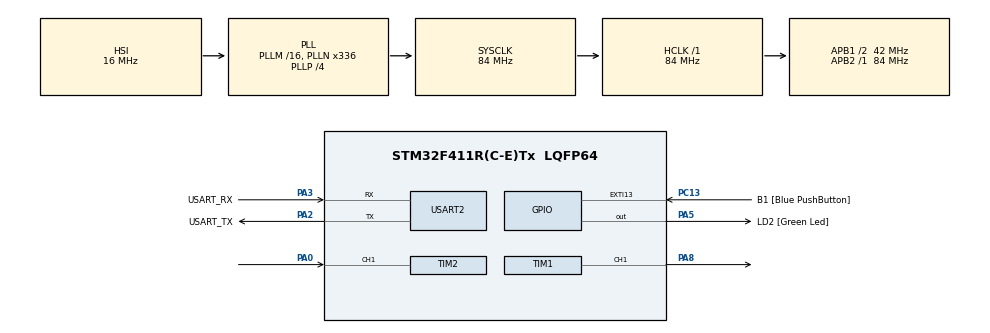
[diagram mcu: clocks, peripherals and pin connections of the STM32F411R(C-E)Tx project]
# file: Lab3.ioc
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Dma.Request0=TIM2_CH1
Dma.TIM2_CH1.0.Direction=DMA_PERIPH_TO_MEMORY
Dma.TIM2_CH1.0.FIFOMode=DMA_FIFOMODE_DISABLE
Dma.TIM2_CH1.0.Instance=DMA1_Stream5
Dma.TIM2_CH1.0.MemDataAlignment=DMA_MDATAALIGN_WORD
Dma.TIM2_CH1.0.MemInc=DMA_MINC_ENABLE
Dma.TIM2_CH1.0.Mode=DMA_CIRCULAR
Dma.TIM2_CH1.0.PeriphDataAlignment=DMA_PDATAALIGN_WORD
Dma.TIM2_CH1.0.PeriphInc=DMA_PINC_DISABLE
Dma.TIM2_CH1.0.Priority=DMA_PRIORITY_LOW
Mcu.Family=STM32F4
Mcu.Name=STM32F411R(C-E)Tx
Mcu.Package=LQFP64
NVIC.DMA1_Stream5_IRQn=true\:0\:0\:false\:false\:true\:false\:true\:true
NVIC.PriorityGroup=NVIC_PRIORITYGROUP_0
PA0-WKUP.Signal=S_TIM2_CH1_ETR
PA13.GPIO_Label=TMS
PA13.Mode=Serial_Wire
PA13.Signal=SYS_JTMS-SWDIO
PA14.GPIO_Label=TCK
PA14.Mode=Serial_Wire
PA14.Signal=SYS_JTCK-SWCLK
PA2.GPIO_Label=USART_TX
PA2.Mode=Asynchronous
PA2.Signal=USART2_TX
PA3.GPIO_Label=USART_RX
PA3.Mode=Asynchronous
PA3.Signal=USART2_RX
PA5.GPIO_Label=LD2 [Green Led]
PA5.Signal=GPIO_Output
PA8.Signal=S_TIM1_CH1
PB3.GPIO_Label=SWO
PB3.Signal=SYS_JTDO-SWO
PC13-ANTI_TAMP.GPIO_Label=B1 [Blue PushButton]
PC13-ANTI_TAMP.GPIO_ModeDefaultEXTI=GPIO_MODE_IT_FALLING
PC13-ANTI_TAMP.Signal=GPXTI13
PC14-OSC32_IN.Mode=LSE-External-Oscillator
PC14-OSC32_IN.Signal=RCC_OSC32_IN
PC15-OSC32_OUT.Mode=LSE-External-Oscillator
PC15-OSC32_OUT.Signal=RCC_OSC32_OUT
PH0\ -\ OSC_IN.Mode=HSE-External-Clock-Source
PH0\ -\ OSC_IN.Signal=RCC_OSC_IN
PH1\ -\ OSC_OUT.Mode=HSE-External-Clock-Source
PH1\ -\ OSC_OUT.Signal=RCC_OSC_OUT
ProjectManager.HeapSize=0x200
ProjectManager.StackSize=0x400
ProjectManager.TargetToolchain=STM32CubeIDE
RCC.48MHZClocksFreq_Value=84000000
RCC.AHBFreq_Value=84000000
RCC.APB1CLKDivider=RCC_HCLK_DIV2
RCC.APB1Freq_Value=42000000
RCC.APB1TimFreq_Value=84000000
RCC.APB2Freq_Value=84000000
RCC.APB2TimFreq_Value=84000000
RCC.CortexFreq_Value=84000000
RCC.FLatency-AdvancedSettings=FLASH_LATENCY_2
RCC.HCLKFreq_Value=84000000
RCC.HSE_VALUE=8000000
RCC.HSI_VALUE=16000000
RCC.PLLN=336
RCC.PLLP=RCC_PLLP_DIV4
RCC.SYSCLKFreq_VALUE=84000000
RCC.SYSCLKSource=RCC_SYSCLKSOURCE_PLLCLK
RCC.VCOOutputFreq_Value=336000000
SH.S_TIM1_CH1.0=TIM1_CH1,PWM Generation1 CH1
SH.S_TIM2_CH1_ETR.0=TIM2_CH1,Input_Capture1_from_TI1
TIM1.Channel-PWM\ Generation1\ CH1=TIM_CHANNEL_1
TIM1.Period=99
TIM1.Prescaler=83
TIM1.Pulse-PWM\ Generation1\ CH1=100
TIM2.Channel-Input_Capture1_from_TI1=TIM_CHANNEL_1
TIM2.Period=4294967295
TIM2.Prescaler=83
USART2.VirtualMode=VM_ASYNC
VP_TIM1_VS_ClockSourceINT.Mode=Internal
VP_TIM2_VS_ClockSourceINT.Mode=Internal
board=NUCLEO-F411RE

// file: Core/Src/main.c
/* USER CODE BEGIN Header */
/**
  ******************************************************************************
  * @file           : main.c
  * @brief          : Main program body
  ******************************************************************************
  * @attention
  *
  * Copyright (c) 2023 STMicroelectronics.
  * All rights reserved.
  *
  * This software is licensed under terms that can be found in the LICENSE file
  * in the root directory of this software component.
  * If no LICENSE file comes with this software, it is provided AS-IS.
  *
  ******************************************************************************
  */
/* USER CODE END Header */
#include "main.h"

/* USER CODE BEGIN Includes */
//vasin yurenyongvasin
#define IC_BUFFER_SIZE 20

/* USER CODE END Includes */

TIM_HandleTypeDef htim1;
TIM_HandleTypeDef htim2;
DMA_HandleTypeDef hdma_tim2_ch1;

UART_HandleTypeDef huart2;

/* USER CODE BEGIN PV */
uint8_t MotorControlEnable = 0;

uint32_t InputCaptureBuffer[IC_BUFFER_SIZE];
float averageRisingedgePeriod;
float MotorSetDuty;
float MotorReadRPM;
float MotorSetRPM;
float ap;
float readrpm;

/* USER CODE END PV */

void SystemClock_Config(void);
static void MX_GPIO_Init(void);
static void MX_DMA_Init(void);
static void MX_USART2_UART_Init(void);
static void MX_TIM2_Init(void);
static void MX_TIM1_Init(void);
/* USER CODE BEGIN PFP */

/////////////////////////////////////////////////////////////////  Ex.1-2 start
float IC_Calc_Period();
/////////////////////////////////////////////////////////////////  Ex.1-2 end

/* USER CODE END PFP */

int main(void)
{

  /* MCU Configuration--------------------------------------------------------*/

  /* Reset of all peripherals, Initializes the Flash interface and the Systick. */
  HAL_Init();

  /* Configure the system clock */
  SystemClock_Config();

  /* Initialize all configured peripherals */
  MX_GPIO_Init();
  MX_DMA_Init();
  MX_USART2_UART_Init();
  MX_TIM2_Init();
  MX_TIM1_Init();
  /* USER CODE BEGIN 2 */

  // read length 1 rising edge encoder
  HAL_TIM_Base_Start(&htim2);
  HAL_TIM_IC_Start_DMA(&htim2, TIM_CHANNEL_1, InputCaptureBuffer, IC_BUFFER_SIZE);

  //
  HAL_TIM_Base_Start(&htim1);
  HAL_TIM_PWM_Start(&htim1, TIM_CHANNEL_1);

  /* USER CODE END 2 */

  /* Infinite loop */
  while (1)
  {

    /* USER CODE BEGIN 3 */
	  static uint32_t timestamp = 0;
	  if (HAL_GetTick() >= timestamp)
	  {
		  timestamp = HAL_GetTick() + 75;
		  averageRisingedgePeriod = IC_Calc_Period();//pulling read rpm in ic
		  MotorReadRPM = (60 * 1000000) / (64 * 12 * averageRisingedgePeriod);//change from ic to rpm
//motor control
	  if (MotorControlEnable == 1){
		  if (MotorSetRPM == 0)
		  {averageRisingedgePeriod = 0;
		   MotorReadRPM = 0 ;
		   MotorSetDuty = 0 ;
		  }
		  else if (MotorReadRPM > MotorSetRPM )
		  {if (MotorSetDuty < 0){
				  MotorSetDuty = 0;}
			  else if (MotorSetDuty > 0){
				  MotorSetDuty -= 1;}
		  }
		  else if (MotorReadRPM < MotorSetRPM ){
			  if (MotorSetDuty > 100){
				  MotorSetDuty = 100;}
			  else if (MotorSetDuty < 100){
				  MotorSetDuty += 1;}
		  }
	  }
	  else if (MotorControlEnable == 0){
		  if (MotorSetDuty > 100){
			  MotorSetDuty = 100;}
		  else if (MotorSetDuty <= 0){
			  MotorSetDuty = 0;
			  MotorReadRPM = 0;
			  averageRisingedgePeriod = 0;}
	  }
	  __HAL_TIM_SET_COMPARE(&htim1,TIM_CHANNEL_1,MotorSetDuty);

  }

}
  /* USER CODE END 3 */
}

void SystemClock_Config(void)
{
  RCC_OscInitTypeDef RCC_OscInitStruct = {0};
  RCC_ClkInitTypeDef RCC_ClkInitStruct = {0};

  /** Configure the main internal regulator output voltage
  */
  __HAL_RCC_PWR_CLK_ENABLE();
  __HAL_PWR_VOLTAGESCALING_CONFIG(PWR_REGULATOR_VOLTAGE_SCALE1);

  /** Initializes the RCC Oscillators according to the specified parameters
  * in the RCC_OscInitTypeDef structure.
  */
  RCC_OscInitStruct.OscillatorType = RCC_OSCILLATORTYPE_HSI;
  RCC_OscInitStruct.HSIState = RCC_HSI_ON;
  RCC_OscInitStruct.HSICalibrationValue = RCC_HSICALIBRATION_DEFAULT;
  RCC_OscInitStruct.PLL.PLLState = RCC_PLL_ON;
  RCC_OscInitStruct.PLL.PLLSource = RCC_PLLSOURCE_HSI;
  RCC_OscInitStruct.PLL.PLLM = 16;
  RCC_OscInitStruct.PLL.PLLN = 336;
  RCC_OscInitStruct.PLL.PLLP = RCC_PLLP_DIV4;
  RCC_OscInitStruct.PLL.PLLQ = 4;
  if (HAL_RCC_OscConfig(&RCC_OscInitStruct) != HAL_OK)
  {
    Error_Handler();
  }

  /** Initializes the CPU, AHB and APB buses clocks
  */
  RCC_ClkInitStruct.ClockType = RCC_CLOCKTYPE_HCLK|RCC_CLOCKTYPE_SYSCLK
                              |RCC_CLOCKTYPE_PCLK1|RCC_CLOCKTYPE_PCLK2;
  RCC_ClkInitStruct.SYSCLKSource = RCC_SYSCLKSOURCE_PLLCLK;
  RCC_ClkInitStruct.AHBCLKDivider = RCC_SYSCLK_DIV1;
  RCC_ClkInitStruct.APB1CLKDivider = RCC_HCLK_DIV2;
  RCC_ClkInitStruct.APB2CLKDivider = RCC_HCLK_DIV1;

  if (HAL_RCC_ClockConfig(&RCC_ClkInitStruct, FLASH_LATENCY_2) != HAL_OK)
  {
    Error_Handler();
  }
}

static void MX_TIM1_Init(void)
{

  TIM_ClockConfigTypeDef sClockSourceConfig = {0};
  TIM_MasterConfigTypeDef sMasterConfig = {0};
  TIM_OC_InitTypeDef sConfigOC = {0};
  TIM_BreakDeadTimeConfigTypeDef sBreakDeadTimeConfig = {0};

  htim1.Instance = TIM1;
  htim1.Init.Prescaler = 83;
  htim1.Init.CounterMode = TIM_COUNTERMODE_UP;
  htim1.Init.Period = 99;
  htim1.Init.ClockDivision = TIM_CLOCKDIVISION_DIV1;
  htim1.Init.RepetitionCounter = 0;
  htim1.Init.AutoReloadPreload = TIM_AUTORELOAD_PRELOAD_DISABLE;
  if (HAL_TIM_Base_Init(&htim1) != HAL_OK)
  {
    Error_Handler();
  }
  sClockSourceConfig.ClockSource = TIM_CLOCKSOURCE_INTERNAL;
  if (HAL_TIM_ConfigClockSource(&htim1, &sClockSourceConfig) != HAL_OK)
  {
    Error_Handler();
  }
  if (HAL_TIM_PWM_Init(&htim1) != HAL_OK)
  {
    Error_Handler();
  }
  sMasterConfig.MasterOutputTrigger = TIM_TRGO_RESET;
  sMasterConfig.MasterSlaveMode = TIM_MASTERSLAVEMODE_DISABLE;
  if (HAL_TIMEx_MasterConfigSynchronization(&htim1, &sMasterConfig) != HAL_OK)
  {
    Error_Handler();
  }
  sConfigOC.OCMode = TIM_OCMODE_PWM1;
  sConfigOC.Pulse = 100;
  sConfigOC.OCPolarity = TIM_OCPOLARITY_HIGH;
  sConfigOC.OCNPolarity = TIM_OCNPOLARITY_HIGH;
  sConfigOC.OCFastMode = TIM_OCFAST_DISABLE;
  sConfigOC.OCIdleState = TIM_OCIDLESTATE_RESET;
  sConfigOC.OCNIdleState = TIM_OCNIDLESTATE_RESET;
  if (HAL_TIM_PWM_ConfigChannel(&htim1, &sConfigOC, TIM_CHANNEL_1) != HAL_OK)
  {
    Error_Handler();
  }
  sBreakDeadTimeConfig.OffStateRunMode = TIM_OSSR_DISABLE;
  sBreakDeadTimeConfig.OffStateIDLEMode = TIM_OSSI_DISABLE;
  sBreakDeadTimeConfig.LockLevel = TIM_LOCKLEVEL_OFF;
  sBreakDeadTimeConfig.DeadTime = 0;
  sBreakDeadTimeConfig.BreakState = TIM_BREAK_DISABLE;
  sBreakDeadTimeConfig.BreakPolarity = TIM_BREAKPOLARITY_HIGH;
  sBreakDeadTimeConfig.AutomaticOutput = TIM_AUTOMATICOUTPUT_DISABLE;
  if (HAL_TIMEx_ConfigBreakDeadTime(&htim1, &sBreakDeadTimeConfig) != HAL_OK)
  {
    Error_Handler();
  }
  HAL_TIM_MspPostInit(&htim1);

}

static void MX_TIM2_Init(void)
{

  TIM_ClockConfigTypeDef sClockSourceConfig = {0};
  TIM_MasterConfigTypeDef sMasterConfig = {0};
  TIM_IC_InitTypeDef sConfigIC = {0};

  htim2.Instance = TIM2;
  htim2.Init.Prescaler = 83;
  htim2.Init.CounterMode = TIM_COUNTERMODE_UP;
  htim2.Init.Period = 4294967295;
  htim2.Init.ClockDivision = TIM_CLOCKDIVISION_DIV1;
  htim2.Init.AutoReloadPreload = TIM_AUTORELOAD_PRELOAD_DISABLE;
  if (HAL_TIM_Base_Init(&htim2) != HAL_OK)
  {
    Error_Handler();
  }
  sClockSourceConfig.ClockSource = TIM_CLOCKSOURCE_INTERNAL;
  if (HAL_TIM_ConfigClockSource(&htim2, &sClockSourceConfig) != HAL_OK)
  {
    Error_Handler();
  }
  if (HAL_TIM_IC_Init(&htim2) != HAL_OK)
  {
    Error_Handler();
  }
  sMasterConfig.MasterOutputTrigger = TIM_TRGO_RESET;
  sMasterConfig.MasterSlaveMode = TIM_MASTERSLAVEMODE_DISABLE;
  if (HAL_TIMEx_MasterConfigSynchronization(&htim2, &sMasterConfig) != HAL_OK)
  {
    Error_Handler();
  }
  sConfigIC.ICPolarity = TIM_INPUTCHANNELPOLARITY_RISING;
  sConfigIC.ICSelection = TIM_ICSELECTION_DIRECTTI;
  sConfigIC.ICPrescaler = TIM_ICPSC_DIV1;
  sConfigIC.ICFilter = 0;
  if (HAL_TIM_IC_ConfigChannel(&htim2, &sConfigIC, TIM_CHANNEL_1) != HAL_OK)
  {
    Error_Handler();
  }

}

static void MX_USART2_UART_Init(void)
{

  huart2.Instance = USART2;
  huart2.Init.BaudRate = 115200;
  huart2.Init.WordLength = UART_WORDLENGTH_8B;
  huart2.Init.StopBits = UART_STOPBITS_1;
  huart2.Init.Parity = UART_PARITY_NONE;
  huart2.Init.Mode = UART_MODE_TX_RX;
  huart2.Init.HwFlowCtl = UART_HWCONTROL_NONE;
  huart2.Init.OverSampling = UART_OVERSAMPLING_16;
  if (HAL_UART_Init(&huart2) != HAL_OK)
  {
    Error_Handler();
  }

}

static void MX_DMA_Init(void)
{

  /* DMA controller clock enable */
  __HAL_RCC_DMA1_CLK_ENABLE();

  /* DMA interrupt init */
  /* DMA1_Stream5_IRQn interrupt configuration */
  HAL_NVIC_SetPriority(DMA1_Stream5_IRQn, 0, 0);
  HAL_NVIC_EnableIRQ(DMA1_Stream5_IRQn);

}

static void MX_GPIO_Init(void)
{
  GPIO_InitTypeDef GPIO_InitStruct = {0};

  /* GPIO Ports Clock Enable */
  __HAL_RCC_GPIOC_CLK_ENABLE();
  __HAL_RCC_GPIOH_CLK_ENABLE();
  __HAL_RCC_GPIOA_CLK_ENABLE();
  __HAL_RCC_GPIOB_CLK_ENABLE();

  /*Configure GPIO pin Output Level */
  HAL_GPIO_WritePin(LD2_GPIO_Port, LD2_Pin, GPIO_PIN_RESET);

  /*Configure GPIO pin : B1_Pin */
  GPIO_InitStruct.Pin = B1_Pin;
  GPIO_InitStruct.Mode = GPIO_MODE_IT_FALLING;
  GPIO_InitStruct.Pull = GPIO_NOPULL;
  HAL_GPIO_Init(B1_GPIO_Port, &GPIO_InitStruct);

  /*Configure GPIO pin : LD2_Pin */
  GPIO_InitStruct.Pin = LD2_Pin;
  GPIO_InitStruct.Mode = GPIO_MODE_OUTPUT_PP;
  GPIO_InitStruct.Pull = GPIO_NOPULL;
  GPIO_InitStruct.Speed = GPIO_SPEED_FREQ_LOW;
  HAL_GPIO_Init(LD2_GPIO_Port, &GPIO_InitStruct);

}

/* USER CODE BEGIN 4 */

float IC_Calc_Period(){
	uint32_t currentDMAPointer = IC_BUFFER_SIZE - __HAL_DMA_GET_COUNTER((htim2.hdma[1]));
	uint32_t lastValidDMAPointer = (currentDMAPointer-1 + IC_BUFFER_SIZE) % IC_BUFFER_SIZE;
	uint32_t i = (lastValidDMAPointer + IC_BUFFER_SIZE - 5) % IC_BUFFER_SIZE;
	int32_t sumdiff = 0;
	while (i != lastValidDMAPointer){
		uint32_t firstCapture = InputCaptureBuffer[i];
		uint32_t NextCapture = InputCaptureBuffer[(i+1) % IC_BUFFER_SIZE];
		sumdiff += NextCapture - firstCapture;
		i = (i+1) % IC_BUFFER_SIZE;
	}
	return sumdiff / 5.0;

}
/* USER CODE END 4 */

void Error_Handler(void)
{
  __disable_irq();
  while (1)
  {
  }
}
